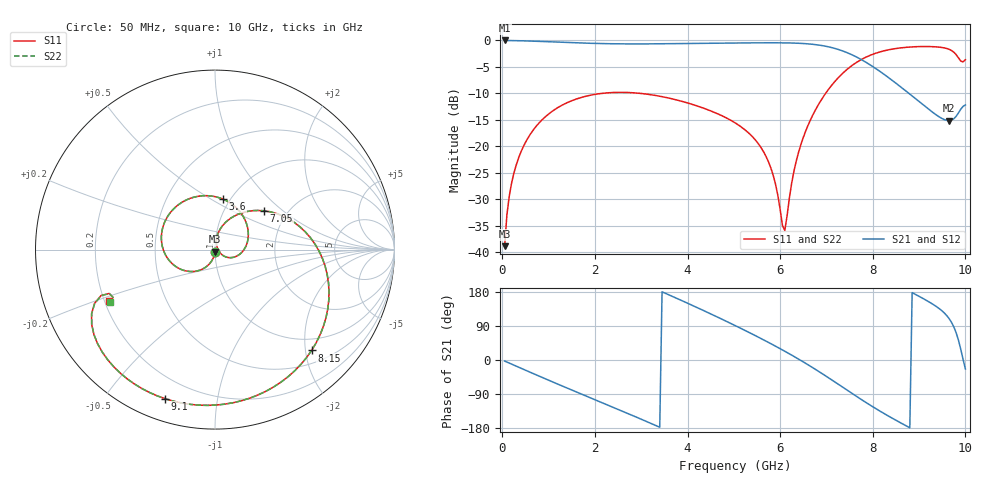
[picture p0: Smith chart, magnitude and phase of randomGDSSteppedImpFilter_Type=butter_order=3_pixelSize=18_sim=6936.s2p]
! freq	dB(S11)	phase(S11)	dB(S12)	phase(S12)
!  dB(S21)	phase(S21)	dB(S22)	phase(S22)
!S-par simulation data
#  GHz  S  DB  R 50
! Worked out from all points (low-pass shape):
!   200 points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, 50 MHz to 10 GHz, reference 50 ohm
!   highest |S21| = -0.01 dB at 50 MHz (marker M1); lowest = -15.1 dB at 9.65 GHz (marker M2)
!   |S21| within 3 dB of the highest: start of sweep to 7.62 GHz
!   lowest |S11| = -38.9 dB at 50 MHz (marker M3), VSWR 1.02, Z = 49.9 - j1.14 ohm
!   |S11| at or under -10 dB: start of sweep to 2.154 GHz; 2.977 GHz to 6.982 GHz (4.005 GHz wide, 80.4 % of centre)
!   |S22| runs from -38.9 to -1.1 dB; largest |S21 - S12| = 0
!   S11 on the Smith chart (normalised r, x): 50 MHz: 1.00, -0.02; 3.6 GHz: 0.92, +0.57; 7.05 GHz: 1.53, +0.75; 8.15 GHz: 0.75, -2.12; 9.1 GHz: 0.10, -0.72; 10 GHz: 0.22, -0.22
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0.05  -38.87 -92.4  -0.01 -2.7  -0.01 -2.7  -38.86 -92.3
0.2  -26.98 -101.0  -0.03 -10.8  -0.03 -10.8  -26.98 -101.0
0.5  -19.27 -117.4  -0.09 -26.9  -0.09 -26.9  -19.27 -117.4
1.15  -12.96 -151.9  -0.30 -61.1  -0.30 -61.1  -12.96 -151.8
1.75  -10.67 177.2  -0.50 -92.0  -0.50 -92.0  -10.67 177.3
2.5  -9.81 138.9  -0.64 -130.3  -0.64 -130.3  -9.81 139.0
3.4  -10.54 92.0  -0.64 -177.4  -0.64 -177.4  -10.54 92.1
3.6  -10.90 81.4  -0.62 171.8  -0.62 171.8  -10.90 81.5
4.25  -12.50 46.0  -0.55 135.9  -0.55 135.9  -12.50 46.1
5.05  -15.69 1.3  -0.48 89.6  -0.48 89.6  -15.69 1.4
5.7  -22.00 -32.5  -0.45 49.5  -0.45 49.5  -22.01 -32.6
6.1  -35.90 31.9  -0.46 23.1  -0.46 23.1  -36.07 32.2
6.35  -22.70 81.0  -0.52 5.8  -0.52 5.8  -22.71 81.4
6.7  -14.18 63.4  -0.73 -19.9  -0.73 -19.9  -14.18 63.6
7.05  -9.17 38.4  -1.22 -47.3  -1.22 -47.3  -9.17 38.6
7.5  -5.08 3.2  -2.51 -84.0  -2.51 -84.0  -5.08 3.3
8.15  -2.18 -46.2  -5.82 -134.5  -5.82 -134.5  -2.18 -46.2
8.35  -1.76 -60.2  -7.09 -148.8  -7.09 -148.8  -1.75 -60.2
9.1  -1.15 -108.4  -12.25 161.3  -12.25 161.3  -1.15 -108.4
9.65  -1.68 -145.0  -15.14 109.0  -15.14 109.0  -1.68 -145.0
9.85  -3.29 -158.0  -13.70 52.4  -13.70 52.4  -3.30 -158.0
10  -3.65 -154.0  -12.18 -23.6  -12.18 -23.6  -3.67 -153.7
